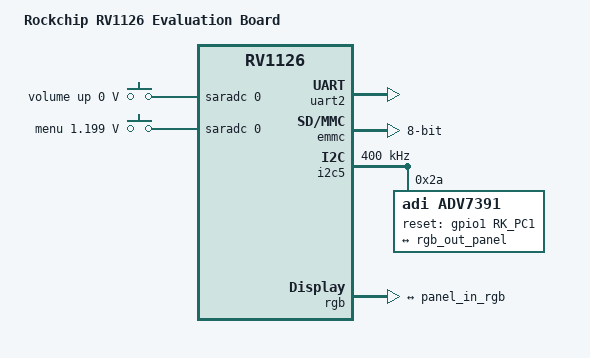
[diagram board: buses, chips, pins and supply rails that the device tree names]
// SPDX-License-Identifier: (GPL-2.0+ OR MIT)
/*
 * Copyright (c) 2020 Fuzhou Rockchip Electronics Co., Ltd.
 */

/dts-v1/;
#include "rv1126.dtsi"
#include "rv1126-u-boot.dtsi"
#include <dt-bindings/input/input.h>

/ {
	model = "Rockchip RV1126 Evaluation Board";
	compatible = "rockchip,rv1126-evb", "rockchip,rv1126";

	adc-keys {
		compatible = "adc-keys";
		io-channels = <&saradc 0>;
		io-channel-names = "buttons";
		keyup-threshold-microvolt = <1800000>;
		u-boot,dm-spl;
		status = "okay";

		volumeup-key {
			u-boot,dm-spl;
			linux,code = <KEY_VOLUMEUP>;
			label = "volume up";
			press-threshold-microvolt = <0>;
		};

		menu-key {
			u-boot,dm-spl;
			linux,code = <KEY_MENU>;
			label = "menu";
			press-threshold-microvolt = <1198828>;
		};
	};
};

&uart2 {
	status = "okay";
};

&emmc {
	bus-width = <8>;
	mmc-hs200-1_8v;
	status = "okay";
};

&i2c5 {
	/delete-property/ pinctrl-0;
	status = "okay";
	pinctrl-0 = <&i2c5m2_xfer>;
	clock-frequency = <400000>;

	adv7391: adv7391@2a {
		compatible = "adi,adv7391";
		reset-gpios = <&gpio1 RK_PC1 GPIO_ACTIVE_HIGH>;
		reg = <0x2a>;

		ports {
			#address-cells = <1>;
			#size-cells = <0>;

			tve_in: port@0 {
				reg = <0>;
				panel_in_rgb: endpoint {
					remote-endpoint = <&rgb_out_panel>;
				};
			};
		};
	};
};

&rgb {
	status = "okay";
	pinctrl-names = "default";
	pinctrl-0 = <&lcdc_ctl>;

	ports {
		port@1 {
			reg = <1>;
			#address-cells = <1>;
			#size-cells = <0>;

			rgb_out_panel: endpoint@1 {
				reg = <1>;
				remote-endpoint = <&panel_in_rgb>;
			};
		};
	};
};
